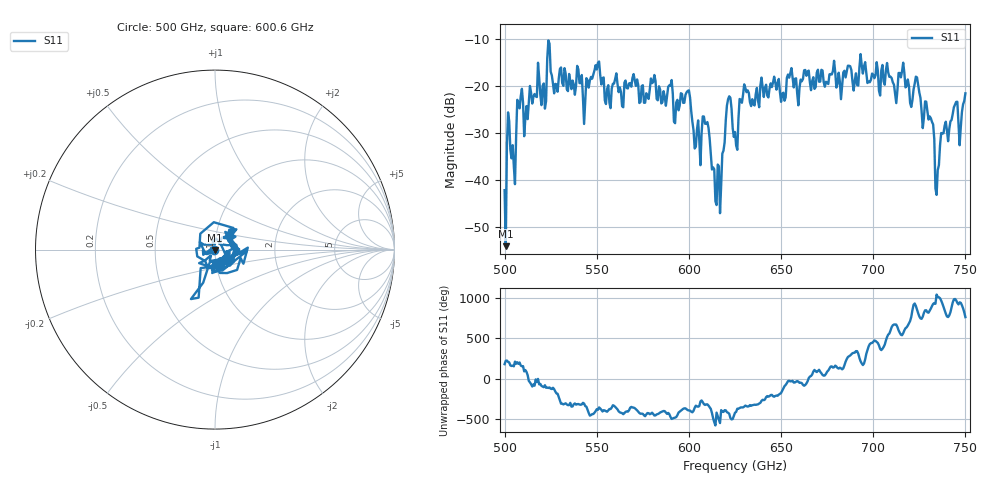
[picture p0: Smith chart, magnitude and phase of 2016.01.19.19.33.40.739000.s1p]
!Created with skrf (http://scikit-rf.org).
# GHz S RI R 50.0
!freq ReS11 ImS11
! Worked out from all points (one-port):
!   401 points, 500 GHz to 750 GHz, reference 50 ohm
!   lowest |S11| = -54.0 dB at 500.6 GHz (marker M1), VSWR 1.00, Z = 49.9 - j0.134 ohm
!   |S11| at or under -10 dB: start of sweep to end of sweep
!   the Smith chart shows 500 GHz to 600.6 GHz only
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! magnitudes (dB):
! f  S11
! 500 GHz  -42.1
! 500.6 GHz  -54.0
! 502.5 GHz  -27.5
! 505 GHz  -37.0
! 508.1 GHz  -24.7
! 521.2 GHz  -19.4
! 524.4 GHz  -11.0
! 527.5 GHz  -19.5
! 531.2 GHz  -19.3
! 543.8 GHz  -22.9
! 550 GHz  -16.4
! 562.5 GHz  -20.2
! 580.6 GHz  -19.1
! 593.8 GHz  -22.9
! 599.4 GHz  -21.0
! 605 GHz  -27.3
! 609.4 GHz  -28.0
! 615.6 GHz  -36.7
! 621.2 GHz  -22.8
! 625 GHz  -29.7
! 630.6 GHz  -20.4
! 656.2 GHz  -18.2
! 687.5 GHz  -15.7
! 718.8 GHz  -18.6
! 729.4 GHz  -25.3
! 735 GHz  -37.8
! 738.1 GHz  -30.0
! 750 GHz  -21.5
